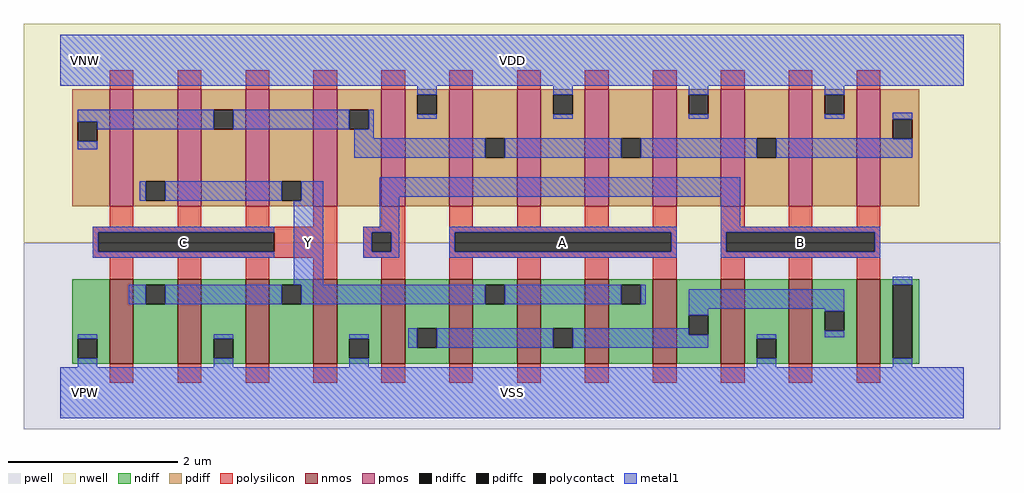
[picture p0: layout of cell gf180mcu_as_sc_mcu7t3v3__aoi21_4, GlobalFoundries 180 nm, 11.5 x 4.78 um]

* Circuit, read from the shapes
.subckt gf180mcu_as_sc_mcu7t3v3__aoi21_4 VDD VNW VPW VSS Y C B A
XM1 Y C VSS VPW nfet_03v3 w=1u l=0.28u m=4
XM2 n1 B VSS VPW nfet_03v3 w=1u l=0.28u m=4
XM3 Y A n1 VPW nfet_03v3 w=1u l=0.28u m=4
XM4 Y C n2 VNW pfet_03v3 w=1.38u l=0.28u m=4
XM5 VDD B n2 VNW pfet_03v3 w=1.38u l=0.28u m=4
XM6 n2 A VDD VNW pfet_03v3 w=1.38u l=0.28u m=4
.ends

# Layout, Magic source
magic
tech gf180mcuD
magscale 1 10
<< nwell >>
rect -86 354 2214 870
<< pwell >>
rect -86 -86 2214 354
<< nmos >>
rect 116 68 172 268
rect 276 68 332 268
rect 436 68 492 268
rect 596 68 652 268
rect 756 68 812 268
rect 916 68 972 268
rect 1076 68 1132 268
rect 1236 68 1292 268
rect 1396 68 1452 268
rect 1556 68 1612 268
rect 1716 68 1772 268
rect 1876 68 1932 268
<< pmos >>
rect 116 440 172 716
rect 276 440 332 716
rect 436 440 492 716
rect 596 440 652 716
rect 756 440 812 716
rect 916 440 972 716
rect 1076 440 1132 716
rect 1236 440 1292 716
rect 1396 440 1452 716
rect 1556 440 1612 716
rect 1716 440 1772 716
rect 1876 440 1932 716
<< ndiff >>
rect 28 127 116 268
rect 28 81 41 127
rect 87 81 116 127
rect 28 68 116 81
rect 172 255 276 268
rect 172 209 201 255
rect 247 209 276 255
rect 172 68 276 209
rect 332 127 436 268
rect 332 81 361 127
rect 407 81 436 127
rect 332 68 436 81
rect 492 255 596 268
rect 492 209 521 255
rect 567 209 596 255
rect 492 68 596 209
rect 652 127 756 268
rect 652 81 681 127
rect 727 81 756 127
rect 652 68 756 81
rect 812 152 916 268
rect 812 106 841 152
rect 887 106 916 152
rect 812 68 916 106
rect 972 255 1076 268
rect 972 209 1001 255
rect 1047 209 1076 255
rect 972 68 1076 209
rect 1132 152 1236 268
rect 1132 106 1161 152
rect 1207 106 1236 152
rect 1132 68 1236 106
rect 1292 255 1396 268
rect 1292 209 1321 255
rect 1367 209 1396 255
rect 1292 68 1396 209
rect 1452 183 1556 268
rect 1452 137 1481 183
rect 1527 137 1556 183
rect 1452 68 1556 137
rect 1612 127 1716 268
rect 1612 81 1641 127
rect 1687 81 1716 127
rect 1612 68 1716 81
rect 1772 192 1876 268
rect 1772 146 1801 192
rect 1847 146 1876 192
rect 1772 68 1876 146
rect 1932 255 2024 268
rect 1932 81 1961 255
rect 2007 81 2024 255
rect 1932 68 2024 81
<< pdiff >>
rect 28 639 116 716
rect 28 593 41 639
rect 87 593 116 639
rect 28 440 116 593
rect 172 499 276 716
rect 172 453 201 499
rect 247 453 276 499
rect 172 440 276 453
rect 332 667 436 716
rect 332 621 361 667
rect 407 621 436 667
rect 332 440 436 621
rect 492 499 596 716
rect 492 453 521 499
rect 567 453 596 499
rect 492 440 596 453
rect 652 667 756 716
rect 652 621 681 667
rect 727 621 756 667
rect 652 440 756 621
rect 812 703 916 716
rect 812 657 841 703
rect 887 657 916 703
rect 812 440 916 657
rect 972 600 1076 716
rect 972 554 1001 600
rect 1047 554 1076 600
rect 972 440 1076 554
rect 1132 703 1236 716
rect 1132 657 1161 703
rect 1207 657 1236 703
rect 1132 440 1236 657
rect 1292 600 1396 716
rect 1292 554 1321 600
rect 1367 554 1396 600
rect 1292 440 1396 554
rect 1452 703 1556 716
rect 1452 657 1481 703
rect 1527 657 1556 703
rect 1452 440 1556 657
rect 1612 600 1716 716
rect 1612 554 1641 600
rect 1687 554 1716 600
rect 1612 440 1716 554
rect 1772 703 1876 716
rect 1772 657 1801 703
rect 1847 657 1876 703
rect 1772 440 1876 657
rect 1932 645 2024 716
rect 1932 599 1961 645
rect 2007 599 2024 645
rect 1932 440 2024 599
<< ndiffc >>
rect 41 81 87 127
rect 201 209 247 255
rect 361 81 407 127
rect 521 209 567 255
rect 681 81 727 127
rect 841 106 887 152
rect 1001 209 1047 255
rect 1161 106 1207 152
rect 1321 209 1367 255
rect 1481 137 1527 183
rect 1641 81 1687 127
rect 1801 146 1847 192
rect 1961 81 2007 255
<< pdiffc >>
rect 41 593 87 639
rect 201 453 247 499
rect 361 621 407 667
rect 521 453 567 499
rect 681 621 727 667
rect 841 657 887 703
rect 1001 554 1047 600
rect 1161 657 1207 703
rect 1321 554 1367 600
rect 1481 657 1527 703
rect 1641 554 1687 600
rect 1801 657 1847 703
rect 1961 599 2007 645
<< polysilicon >>
rect 116 716 172 760
rect 276 716 332 760
rect 436 716 492 760
rect 596 716 652 760
rect 756 716 812 760
rect 916 716 972 760
rect 1076 716 1132 760
rect 1236 716 1292 760
rect 1396 716 1452 760
rect 1556 716 1612 760
rect 1716 716 1772 760
rect 1876 716 1932 760
rect 116 391 172 440
rect 276 391 332 440
rect 436 391 492 440
rect 596 391 652 440
rect 756 391 812 440
rect 76 378 652 391
rect 76 332 89 378
rect 504 332 652 378
rect 76 318 652 332
rect 713 378 812 391
rect 713 332 733 378
rect 779 332 812 378
rect 713 318 812 332
rect 116 268 172 318
rect 276 268 332 318
rect 436 268 492 318
rect 596 268 652 318
rect 756 268 812 318
rect 916 391 972 440
rect 1076 391 1132 440
rect 1236 391 1292 440
rect 1396 391 1452 440
rect 916 378 1452 391
rect 916 332 929 378
rect 1439 332 1452 378
rect 916 318 1452 332
rect 916 268 972 318
rect 1076 268 1132 318
rect 1236 268 1292 318
rect 1396 268 1452 318
rect 1556 391 1612 440
rect 1716 391 1772 440
rect 1876 391 1932 440
rect 1556 378 1932 391
rect 1556 332 1569 378
rect 1919 332 1932 378
rect 1556 318 1932 332
rect 1556 268 1612 318
rect 1716 268 1772 318
rect 1876 268 1932 318
rect 116 24 172 68
rect 276 24 332 68
rect 436 24 492 68
rect 596 24 652 68
rect 756 24 812 68
rect 916 24 972 68
rect 1076 24 1132 68
rect 1236 24 1292 68
rect 1396 24 1452 68
rect 1556 24 1612 68
rect 1716 24 1772 68
rect 1876 24 1932 68
<< polycontact >>
rect 89 332 504 378
rect 733 332 779 378
rect 929 332 1439 378
rect 1569 332 1919 378
<< metal1 >>
rect 0 724 2128 844
rect 841 703 887 724
rect 41 639 361 667
rect 87 621 361 639
rect 407 621 681 667
rect 727 621 738 667
rect 841 646 887 657
rect 1161 703 1207 724
rect 1161 646 1207 657
rect 1481 703 1527 724
rect 1481 646 1527 657
rect 1801 703 1847 724
rect 1801 646 1847 657
rect 41 574 87 593
rect 692 600 738 621
rect 1961 645 2007 660
rect 692 554 1001 600
rect 1047 554 1321 600
rect 1367 554 1641 600
rect 1687 599 1961 600
rect 1687 554 2007 599
rect 187 453 201 499
rect 247 453 521 499
rect 567 453 619 499
rect 76 378 504 391
rect 76 332 89 378
rect 76 318 504 332
rect 550 255 619 453
rect 752 462 1602 508
rect 752 391 798 462
rect 1556 391 1602 462
rect 713 378 798 391
rect 713 332 733 378
rect 779 332 798 378
rect 713 318 798 332
rect 916 378 1452 391
rect 916 332 929 378
rect 1439 332 1452 378
rect 916 318 1452 332
rect 1556 378 1932 391
rect 1556 332 1569 378
rect 1919 332 1932 378
rect 1556 318 1932 332
rect 1961 255 2007 274
rect 161 209 201 255
rect 247 209 521 255
rect 567 209 1001 255
rect 1047 209 1321 255
rect 1367 209 1379 255
rect 1481 198 1847 244
rect 1481 183 1527 198
rect 41 127 87 138
rect 41 60 87 81
rect 361 127 407 138
rect 361 60 407 81
rect 681 127 727 138
rect 820 106 841 152
rect 887 106 1161 152
rect 1207 137 1481 152
rect 1801 192 1847 198
rect 1207 106 1527 137
rect 1641 127 1687 138
rect 1801 131 1847 146
rect 681 60 727 81
rect 1641 60 1687 81
rect 1961 60 2007 81
rect 0 -60 2128 60
<< labels >>
flabel metal1 s 0 724 2128 844 0 FreeSans 400 0 0 0 VDD
port 1 nsew power bidirectional abutment
flabel metal1 s 0 -60 2128 60 0 FreeSans 400 0 0 0 VSS
port 4 nsew ground bidirectional abutment
flabel nwell s 10 734 110 834 0 FreeSans 400 0 0 0 VNW
port 2 nsew power bidirectional
flabel pwell s 10 -50 110 50 0 FreeSans 400 0 0 0 VPW
port 3 nsew ground bidirectional
flabel metal1 550 209 619 499 0 FreeSans 200 0 0 0 Y
port 5 nsew signal output
flabel metal1 76 318 504 391 0 FreeSans 200 0 0 0 C
port 6 nsew signal input
flabel metal1 1556 318 1932 391 0 FreeSans 200 0 0 0 B
port 7 nsew signal input
flabel metal1 916 318 1452 391 0 FreeSans 200 0 0 0 A
port 8 nsew signal input
<< properties >>
string FIXED_BBOX 0 0 2128 784
string LEFclass CORE
string LEFsite unithd
string LEFsymmetry X Y
string MASKHINTS_NPLUS -16 -46 2144 354
string MASKHINTS_PPLUS -16 354 2144 830
<< end >>
